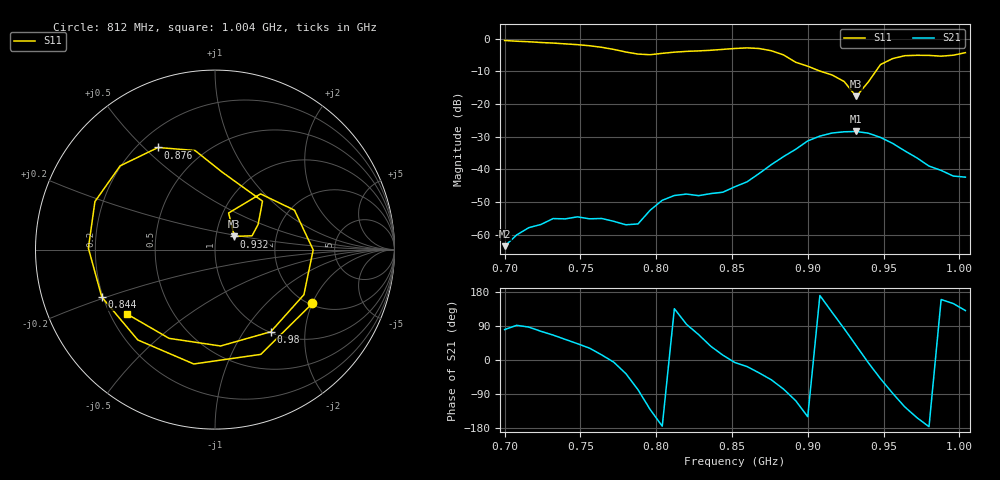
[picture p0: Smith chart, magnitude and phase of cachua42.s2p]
# Hz S RI R 50
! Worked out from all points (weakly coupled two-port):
!   39 points, 700 MHz to 1.004 GHz, reference 50 ohm
!   highest |S21| = -28.43 dB at 932 MHz (marker M1); lowest = -63.5 dB at 700 MHz (marker M2)
!   lowest |S11| = -17.7 dB at 932 MHz (marker M3), VSWR 1.30, Z = 61.3 + j9.17 ohm
!   |S11| at or under -10 dB: 908.4 MHz to 944.9 MHz (36.49 MHz wide, 3.94 % of centre)
!   S12 and S22 are empty: the file has one direction only
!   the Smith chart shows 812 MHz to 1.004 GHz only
!   S11 on the Smith chart (normalised r, x): 812 MHz: 2.06, -2.01; 844 MHz: 0.20, -0.19; 876 MHz: 0.28, +0.55; 932 MHz: 1.23, +0.18; 980 MHz: 1.01, -1.34; 1.004 GHz: 0.27, -0.30
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7e8  0.7681 0.535  0.000112 0.000658  0 0  0 0
7.24e8  0.8317 -0.2576  0.000354 0.00139  0 0  0 0
7.4e8  0.4432 -0.702  0.00102 0.00142  0 0  0 0
7.56e8  -0.1937 -0.7526  0.00149 0.00091  0 0  0 0
7.72e8  -0.6566 -0.1884  0.00159 -0.000159  0 0  0 0
7.8e8  -0.5797 0.2288  0.00115 -0.000833  0 0  0 0
7.88e8  -0.2303 0.5315  0.000294 -0.00143  0 0  0 0
7.96e8  0.2546 0.5059  -0.00154 -0.0018  0 0  0 0
8.04e8  0.5745 0.1535  -0.00334 -0.000309  0 0  0 0
8.12e8  0.5428 -0.2995  -0.00283 0.0028  0 0  0 0
8.28e8  -0.1182 -0.6372  0.00155 0.00364  0 0  0 0
8.44e8  -0.6308 -0.2643  0.00436 0.000985  0 0  0 0
8.52e8  -0.7055 0.00809  0.00538 -0.000649  0 0  0 0
8.76e8  -0.3174 0.5689  0.00721 -0.00935  0 0  0 0
9e8  0.2647 0.2698  -0.0235 -0.0137  0 0  0 0
9.08e8  0.251 0.1958  -0.0318 0.00548  0 0  0 0
9.32e8  0.1075 0.0735  0.03 0.0231  0 0  0 0
9.4e8  0.0758 0.2041  0.0354 -0.00461  0 0  0 0
9.56e8  0.4428 0.2196  0.000959 -0.0249  0 0  0 0
9.64e8  0.5471 -0.00122  -0.0107 -0.0159  0 0  0 0
9.8e8  0.3105 -0.4578  -0.0112 -0.000779  0 0  0 0
1.004e9  -0.4919 -0.3579  -0.00493 0.00577  0 0  0 0
